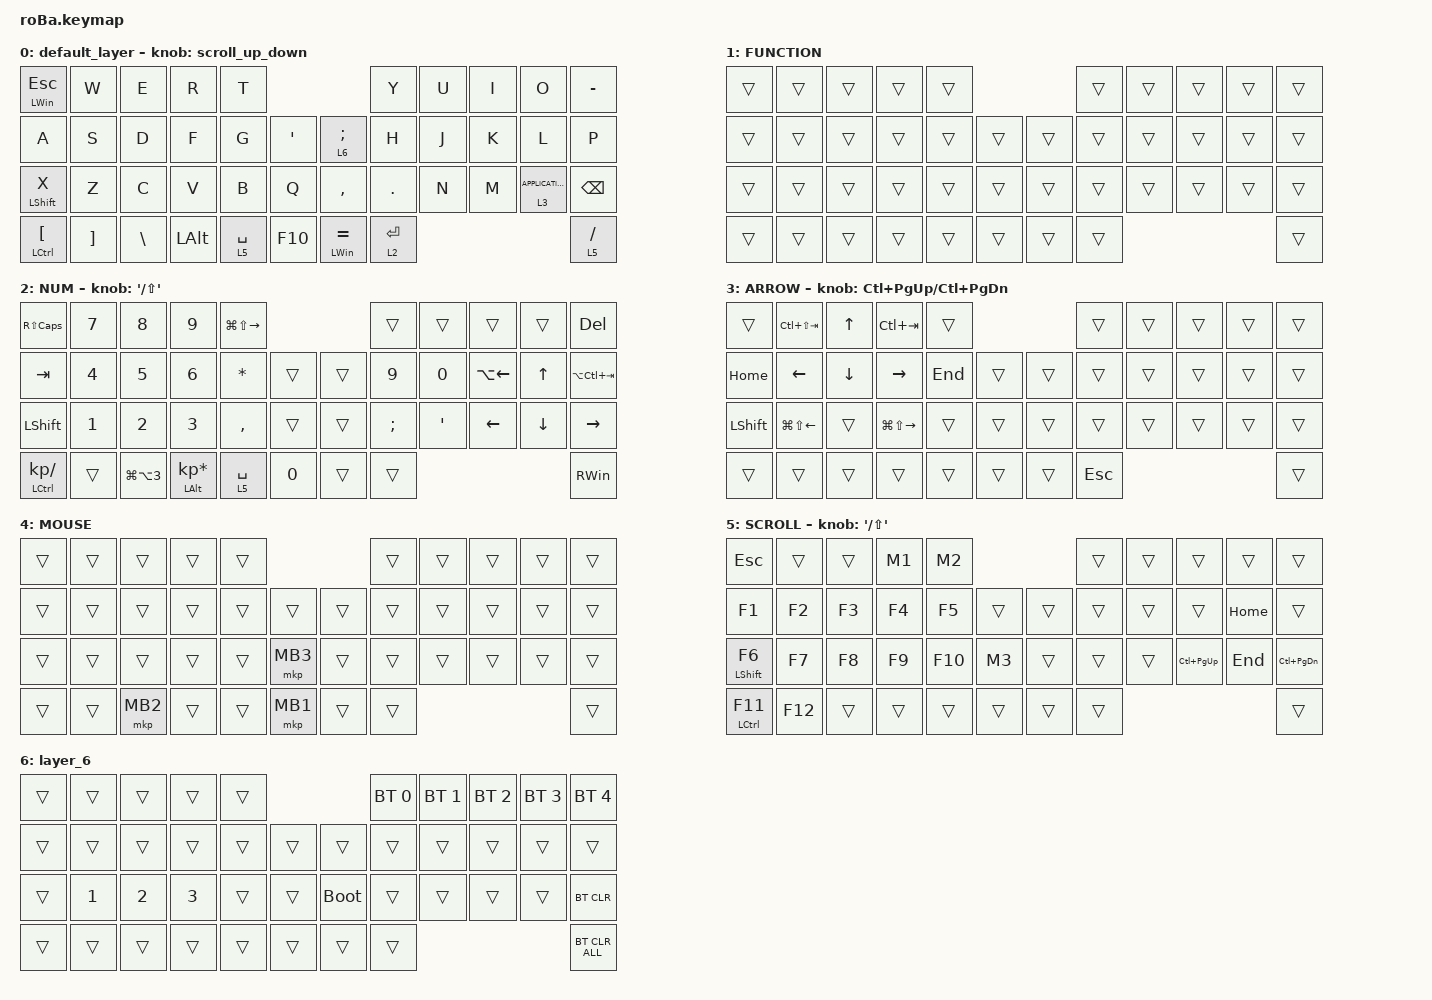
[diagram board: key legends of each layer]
#include <behaviors.dtsi>
#include <dt-bindings/zmk/bt.h>
#include <dt-bindings/zmk/keys.h>
#include <dt-bindings/zmk/pointing.h>

#define ZMK_POINTING_DEFAULT_SCRL_VAL 130

&mt {
    tapping-term-ms = <300>;
    flavor = "hold-preferred";
    quick-tap-ms = <0>;
};

&trackball {
    automouse-layer = <4>;
    scroll-layers = <5>;

    arrows {
        layers = <3>;
        bindings =
            <&kp RIGHT_ARROW>,
            <&kp LEFT_ARROW>,
            <&kp UP_ARROW>,
            <&kp DOWN_ARROW>;

        tick = <10>;
        wait-ms = <5>;
        tap-ms = <5>;
    };
};

/ {
    combos {
        compatible = "zmk,combos";

        screenshot {
            bindings = <&kp LS(LG(S))>;
            key-positions = <39 40>;
        };

        Click {
            bindings = <&mkp MB1>;
            key-positions = <32 31>;
        };

        ALT_Tab {
            bindings = <&kp LA(TAB)>;
            key-positions = <10 37>;
        };
    };

    macros {
        to_layer_0: to_layer_0 {
            compatible = "zmk,behavior-macro-one-param";
            #binding-cells = <1>;
            bindings = <&to 0 &macro_param_1to1 &kp MACRO_PLACEHOLDER>;
            label = "TO_LAYER_0";
        };

        M1: M1 {
            compatible = "zmk,behavior-macro";
            #binding-cells = <0>;
            bindings = <&kp E &kp I &kp A &kp L &kp N6 &kp S &kp O &kp C &kp C &kp E &kp R &kp F &kp R &kp I &kp E &kp N &kp D &kp AT &kp G &kp M &kp A &kp I &kp L &kp DOT &kp C &kp O &kp M>;
            label = "M1";
            wait-ms = <0>;
            tap-ms = <5>;
        };

        M2: M2 {
            compatible = "zmk,behavior-macro";
            #binding-cells = <0>;
            bindings = <&kp T &kp S &kp U &kp J &kp I &kp T &kp A &kp AT &kp C &kp H &kp K &kp L &kp A &kp B &kp DOT &kp C &kp O &kp M>;
            label = "M2";
            wait-ms = <0>;
            tap-ms = <5>;
        };

        M3: M3 {
            compatible = "zmk,behavior-macro";
            #binding-cells = <0>;
            bindings = <&kp LS(T) &kp S &kp U &kp J &kp I &kp T &kp A &kp N2 &kp N0 &kp ENTER>;
            label = "M3";
            wait-ms = <0>;
            tap-ms = <5>;
        };

        alt_grave: alt_grave {
            compatible = "zmk,behavior-macro";
            #binding-cells = <0>;
            bindings = <&mt LEFT_ALT LEFT_ALT &kp GRAVE>;
            label = "ALT_GRAVE";
            wait-ms = <0>;
            tap-ms = <5>;
        };
    };

    behaviors {
        scroll_up_down: behavior_sensor_rotate_mouse_wheel_up_down {
            compatible = "zmk,behavior-sensor-rotate";
            #sensor-binding-cells = <0>;
            bindings = <&msc SCRL_DOWN>, <&msc SCRL_UP>;

            // 追加: スクロールのタップ時間を設定 (20ms)

            tap-ms = <20>;
        };

        mt_hold: mt_hold {
            compatible = "zmk,behavior-hold-tap";
            label = "MT_HOLD";
            bindings = <&kp>, <&kp>;

            #binding-cells = <2>;
            tapping-term-ms = <200>;
        };

        test1: test1 {
            compatible = "zmk,behavior-tap-dance";
            label = "TEST1";
            #binding-cells = <0>;
            bindings = <&kp MINUS>, <&mkp MB1>;
        };
    };

    keymap {
        compatible = "zmk,keymap";

        default_layer {
            bindings = <
&mt LEFT_WIN ESCAPE          &kp W              &kp E          &kp R         &kp T                                                  &kp Y        &kp U  &kp I  &kp O                &kp MINUS
&kp A                        &kp S              &kp D          &kp F         &kp G        &kp SINGLE_QUOTE      &lt 6 SEMICOLON     &kp H        &kp J  &kp K  &kp L                &kp P
&mt_hold LEFT_SHIFT X        &kp Z              &kp C          &kp V         &kp B        &kp Q                 &kp COMMA           &kp PERIOD   &kp N  &kp M  &lt 3 K_APPLICATION  &kp BACKSPACE
&mt_hold LCTRL LEFT_BRACKET  &kp RIGHT_BRACKET  &kp BACKSLASH  &kp LEFT_ALT  &lt 5 SPACE  &kp F10               &mt LEFT_WIN EQUAL  &lt 2 ENTER                                     &lt 5 SLASH
            >;

            sensor-bindings = <&scroll_up_down>;
        };

        FUNCTION {
            bindings = <
&trans  &trans  &trans  &trans  &trans                      &trans  &trans  &trans  &trans  &trans
&trans  &trans  &trans  &trans  &trans  &trans      &trans  &trans  &trans  &trans  &trans  &trans
&trans  &trans  &trans  &trans  &trans  &trans      &trans  &trans  &trans  &trans  &trans  &trans
&trans  &trans  &trans  &trans  &trans  &trans      &trans  &trans                          &trans
            >;
        };

        NUM {
            bindings = <
&kp RS(CAPS)              &kp NUMBER_7  &kp NUMBER_8          &kp NUMBER_9              &kp LG(LS(RIGHT_ARROW))                            &trans         &trans        &trans              &trans          &kp DEL
&kp TAB                   &kp NUMBER_4  &kp NUMBER_5          &kp NUMBER_6              &kp ASTERISK             &trans            &trans  &kp NUMBER_9   &kp NUMBER_0  &kp LA(LEFT_ARROW)  &kp UP_ARROW    &kp LA(LC(TAB))
&kp LSHFT                 &kp NUMBER_1  &kp NUMBER_2          &kp NUMBER_3              &kp COMMA                &trans            &trans  &kp SEMICOLON  &kp SQT       &kp LEFT_ARROW      &kp DOWN_ARROW  &kp RIGHT_ARROW
&mt_hold LCTRL KP_DIVIDE  &trans        &kp LG(LA(NUMBER_3))  &mt LEFT_ALT KP_ASTERISK  &lt 5 SPACE              &kp NUMBER_0      &trans  &trans                                                           &kp RIGHT_WIN
            >;

            sensor-bindings = <&inc_dec_kp SQT LS(SQT)>;
        };

        ARROW {
            bindings = <
&trans          &kp LC(LS(TAB))         &kp UP_ARROW    &kp LC(TAB)              &trans                       &trans      &trans  &trans  &trans  &trans
&kp HOME        &kp LEFT_ARROW          &kp DOWN_ARROW  &kp RIGHT_ARROW          &kp END  &trans      &trans  &trans      &trans  &trans  &trans  &trans
&kp LEFT_SHIFT  &kp LG(LS(LEFT_ARROW))  &trans          &kp LG(LS(RIGHT_ARROW))  &trans   &trans      &trans  &trans      &trans  &trans  &trans  &trans
&trans          &trans                  &trans          &trans                   &trans   &trans      &trans  &kp ESCAPE                          &trans
            >;

            sensor-bindings = <&inc_dec_kp LC(PAGE_UP) LC(PAGE_DOWN)>;
        };

        MOUSE {
            bindings = <
&trans  &trans  &trans    &trans  &trans                        &trans  &trans  &trans  &trans  &trans
&trans  &trans  &trans    &trans  &trans  &trans        &trans  &trans  &trans  &trans  &trans  &trans
&trans  &trans  &trans    &trans  &trans  &mkp MB3      &trans  &trans  &trans  &trans  &trans  &trans
&trans  &trans  &mkp MB2  &trans  &trans  &mkp MB1      &trans  &trans                          &trans
            >;
        };

        SCROLL {
            bindings = <
&kp ESC            &trans   &trans  &M1     &M2                          &trans  &trans  &trans           &trans    &trans
&kp F1             &kp F2   &kp F3  &kp F4  &kp F5   &trans      &trans  &trans  &trans  &trans           &kp HOME  &trans
&mt LEFT_SHIFT F6  &kp F7   &kp F8  &kp F9  &kp F10  &M3         &trans  &trans  &trans  &kp LC(PAGE_UP)  &kp END   &kp LC(PAGE_DOWN)
&mt LCTRL F11      &kp F12  &trans  &trans  &trans   &trans      &trans  &trans                                     &trans
            >;

            sensor-bindings = <&inc_dec_kp SQT LS(SQT)>;
        };

        layer_6 {
            bindings = <
&trans  &trans        &trans        &trans        &trans                           &bt BT_SEL 0  &bt BT_SEL 1  &bt BT_SEL 2  &bt BT_SEL 3  &bt BT_SEL 4
&trans  &trans        &trans        &trans        &trans  &trans      &trans       &trans        &trans        &trans        &trans        &trans
&trans  &kp NUMBER_1  &kp NUMBER_2  &kp NUMBER_3  &trans  &trans      &bootloader  &trans        &trans        &trans        &trans        &bt BT_CLR
&trans  &trans        &trans        &trans        &trans  &trans      &trans       &trans                                                  &bt BT_CLR_ALL
            >;
        };
    };
};
